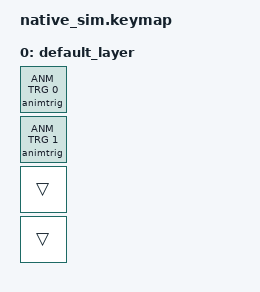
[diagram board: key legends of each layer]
#include "../test.dtsi"
#include <dt-bindings/zmk/keys.h>
#include <dt-bindings/zmk/kscan_mock.h>
#include <zmk_driver_animation/animation.dtsi>
#include <behaviors/animation_trigger.dtsi>
#include <dt-bindings/zmk_driver_animation/animation_control.h>
#include <dt-bindings/zmk_driver_animation/animation_trigger.h>

/*
 * Exercises overlay_queue.c's three distinct code paths (DESIGN.md: "write
 * a unit test that specifically exercises both enqueue and play_now
 * distinctly" - the class of bug v1 had, DESIGN.md #4 item 2):
 *
 *  1. `init-animation` is enqueued (not cancelable) shortly after boot -
 *     "overlay queue: enqueued animation_init_overlay".
 *  2. Pressing animtrig (index 0) while the init overlay is still playing
 *     hits play_now()'s "not cancelable" fallback path - "play_now ...
 *     deferred (current overlay not cancelable)".
 *  3. Pressing animtrig (index 1, a *different* behavior-animations slot,
 *     so animtrig's own per-index bookkeeping doesn't collide with #2's
 *     still-active slot) once nothing is playing hits play_now()'s
 *     preemption path - "play_now ... (preempted (none))".
 *
 * ZMK_MOCK_PRESS/RELEASE's msec parameter is the delay before the *next*
 * list entry fires, and is read (and used to reschedule) at the moment
 * the current entry's own callback runs - not a delay from when the
 * current entry itself was scheduled, and not a hold duration (see
 * dependencies/zmk/app/module/drivers/kscan/kscan_mock.c
 * kscan_mock_work_handler / kscan_mock_schedule_next_event). In other
 * words entry[i]'s msec value controls when entry[i+1] fires. The events
 * list below is annotated with the resulting absolute timeline.
 */

/ {
    mock_led_strip0: mock_led_strip_0 {
        compatible = "zmk,mock-led-strip";
        chain-length = <1>;
    };

    animation: animation {
        compatible = "zmk,animation";
        drivers = <&mock_led_strip0>;
        chain-lengths = <1>;
        pixels = <&pixel 0 0>;
    };

    animation_base: animation_base {
        compatible = "zmk,animation-solid";
        pixels = <0>;
        colors = <HSL(0, 100, 50)>;
    };

    animation_init_overlay: animation_init_overlay {
        compatible = "zmk,animation-solid";
        pixels = <0>;
        colors = <HSL(120, 100, 50)>;
    };

    animation_trigger_overlay: animation_trigger_overlay {
        compatible = "zmk,animation-solid";
        pixels = <0>;
        colors = <HSL(240, 100, 50)>;
    };

    animation_trigger_overlay2: animation_trigger_overlay2 {
        compatible = "zmk,animation-solid";
        pixels = <0>;
        colors = <HSL(300, 100, 50)>;
    };

    animation_control0: animation_control_0 {
        compatible = "zmk,animation-control";
        powered-animations = <&animation_base>;
        battery-animations = <&animation_base>;
        behavior-animations = <&animation_trigger_overlay &animation_trigger_overlay2>;
        init-animation = <&animation_init_overlay>;
        init-animation-duration-ms = <200>;
        init-animation-delay-ms = <10>;
    };

    chosen {
        zmk,animation = &animation_control0;
        zmk,animation-control = &animation_control0;
    };

    keymap {
        compatible = "zmk,keymap";

        default_layer {
            bindings = <
            &animtrig ANM_TRG 0
            &animtrig ANM_TRG 1
            &trans
            &trans
            >;
        };
    };
};

/*
 * Absolute timeline (init-animation: delay=10ms, duration=200ms -> starts
 * ~10ms, finishes ~300ms per the engine's 100ms/tick granularity at
 * FPS=10; animtrig: min-duration=100ms, so a tap's overlay self-stops
 * ~100ms after press if released, extended while held):
 *   t~100ms  press position 0 (animtrig 0): init overlay still playing
 *            -> play_now() falls back to enqueue (not cancelable).
 *   t~1000ms release position 0 (long hold - the 900ms delay on this
 *            entry is what pushes the *next* press out past the init
 *            overlay's ~300ms finish, see comment above the events list).
 *   t~1050ms press position 1 (animtrig 1, a different behavior-animations
 *            slot): by now both the init overlay and the deferred trigger
 *            overlay from press 1 have long finished -> play_now()
 *            preempts "(none)".
 *   t~1100ms release position 1.
 */
&kscan {
    events = <
    ZMK_MOCK_PRESS(0,0,100)
    ZMK_MOCK_RELEASE(0,0,900)
    ZMK_MOCK_PRESS(0,1,50)
    ZMK_MOCK_RELEASE(0,1,50)
    >;
};
